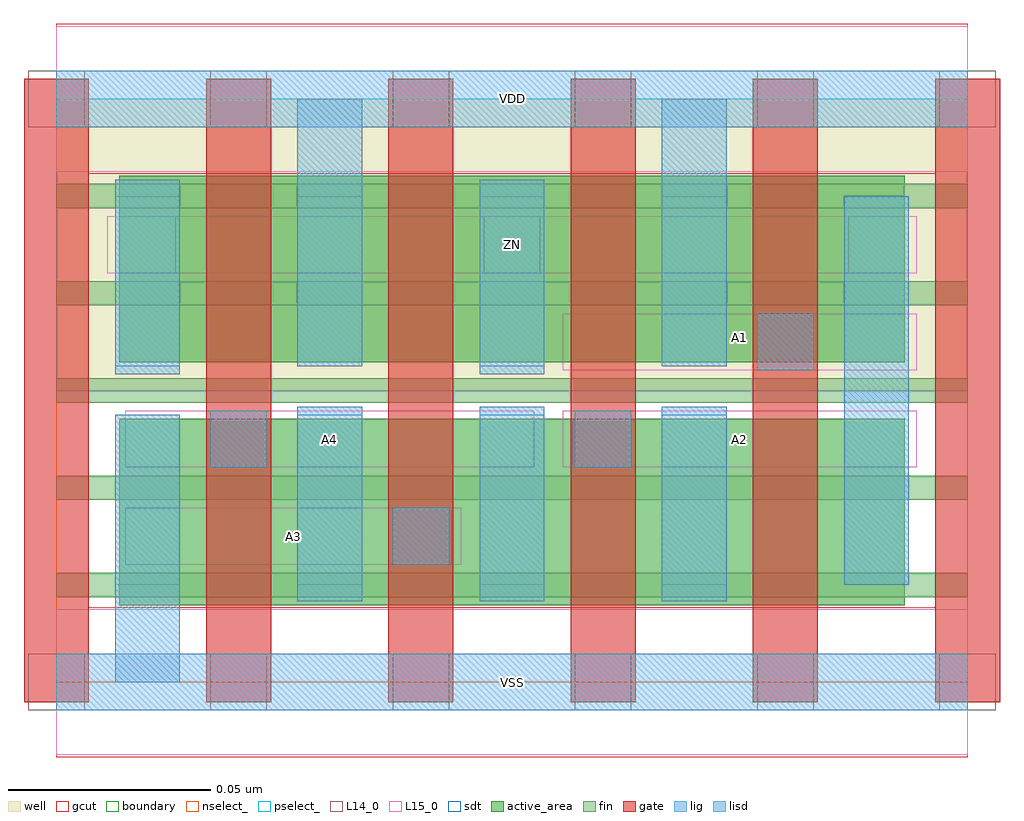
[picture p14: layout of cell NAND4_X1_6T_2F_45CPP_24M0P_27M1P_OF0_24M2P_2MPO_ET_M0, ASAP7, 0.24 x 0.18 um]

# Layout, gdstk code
import gdstk
lib = gdstk.Library(unit=1e-6, precision=2.5e-10)
def R(c, l, rs):  # rectangles x0, y0, x1, y1
    for r in rs: c.add(gdstk.rectangle(r[:2], r[2:], *l))
def A(c, l, x, y, w, h, nx, ny, dx, dy):  # array of equal rectangles
    R(c, l, [(x+i*dx, y+j*dy, x+i*dx+w, y+j*dy+h) for i in range(nx) for j in range(ny)])
well = (1, 0)
fin = (2, 0)
gate = (7, 0)
gcut = (10, 0)
active_area = (11, 0)
nselect_ = (12, 0)
pselect_ = (13, 0)
L14_0 = (14, 0)
L15_0 = (15, 0)
lig = (16, 0)
lisd = (17, 0)
sdt = (88, 0)
boundary = (100, 0)

nand4_x1_6t_2f_45cpp_24m = lib.new_cell('NAND4_X1_6T_2F_45CPP_24M0P_27M1P_OF0_24M2P_2MPO_ET_M0')
R(nand4_x1_6t_2f_45cpp_24m, well, [(0,0.072,0.225,0.144)])
A(nand4_x1_6t_2f_45cpp_24m, fin, 0, 0.021, 0.225, 0.006, 1, 5, 0, 0.024)
A(nand4_x1_6t_2f_45cpp_24m, gate, -0.008, -0.005, 0.016, 0.154, 6, 1, 0.045, 0)
R(nand4_x1_6t_2f_45cpp_24m, gcut, [(0,-0.0185,0.225,0.0185), (-0.008,-0.005,0.008,0.149), (0.217,-0.005,0.233,0.149), (0,0.1255,0.225,0.1625)])
A(nand4_x1_6t_2f_45cpp_24m, active_area, 0.0155, 0.019, 0.059, 0.046, 4, 2, 0.045, 0.06)
R(nand4_x1_6t_2f_45cpp_24m, nselect_, [(0,0,0.225,0.072)])
R(nand4_x1_6t_2f_45cpp_24m, pselect_, [(0,0.072,0.225,0.144)])
A(nand4_x1_6t_2f_45cpp_24m, L14_0, -0.007, -0.007, 0.014, 0.014, 6, 2, 0.045, 0.144)
A(nand4_x1_6t_2f_45cpp_24m, L14_0, 0.0155, 0.101, 0.014, 0.014, 3, 1, 0.09, 0)
R(nand4_x1_6t_2f_45cpp_24m, L14_0, [(0.083,0.029,0.097,0.043), (0.038,0.053,0.052,0.067), (0.128,0.053,0.142,0.067), (0.173,0.077,0.187,0.091)])
R(nand4_x1_6t_2f_45cpp_24m, L15_0, [(0,-0.018,0.225,0.018), (0.017,0.029,0.1,0.043), (0.017,0.053,0.118,0.067), (0.125,0.053,0.2125,0.067), (0.125,0.077,0.2125,0.091), (0.0125,0.101,0.2125,0.115), (0,0.126,0.225,0.162)])
R(nand4_x1_6t_2f_45cpp_24m, lig, [(0,-0.007,0.225,0.007), (0.083,0.029,0.097,0.043), (0.038,0.053,0.052,0.067), (0.128,0.053,0.142,0.067), (0.173,0.077,0.187,0.091), (0,0.137,0.225,0.151)])
A(nand4_x1_6t_2f_45cpp_24m, lisd, 0.0595, 0.02, 0.016, 0.048, 3, 1, 0.045, 0)
R(nand4_x1_6t_2f_45cpp_24m, lisd, [(0.0145,0,0.0305,0.066), (0.1945,0.024,0.2105,0.12), (0.0145,0.076,0.0305,0.124), (0.1045,0.076,0.1205,0.124), (0.0595,0.078,0.0755,0.144), (0.1495,0.078,0.1655,0.144)])
A(nand4_x1_6t_2f_45cpp_24m, sdt, 0.0145, 0.024, 0.016, 0.042, 4, 2, 0.045, 0.054)
R(nand4_x1_6t_2f_45cpp_24m, sdt, [(0.1945,0.024,0.2105,0.12)])
R(nand4_x1_6t_2f_45cpp_24m, boundary, [(0,0,0.225,0.144)])
nand4_x1_6t_2f_45cpp_24m.add(gdstk.Label('A1', (0.1688,0.085), layer=15, texttype=251))
nand4_x1_6t_2f_45cpp_24m.add(gdstk.Label('A3', (0.0585,0.036), layer=15, texttype=251))
nand4_x1_6t_2f_45cpp_24m.add(gdstk.Label('A4', (0.0675,0.06), layer=15, texttype=251))
nand4_x1_6t_2f_45cpp_24m.add(gdstk.Label('A2', (0.1688,0.06), layer=15, texttype=251))
nand4_x1_6t_2f_45cpp_24m.add(gdstk.Label('ZN', (0.1125,0.108), layer=15, texttype=251))
nand4_x1_6t_2f_45cpp_24m.add(gdstk.Label('VDD', (0.1125,0.144), layer=15, texttype=251))
nand4_x1_6t_2f_45cpp_24m.add(gdstk.Label('VSS', (0.1125,0), layer=15, texttype=251))
nand4_x1_6t_2f_45cpp_24m.add(gdstk.Label('VDD', (0.1125,0.144), layer=1, texttype=251))
nand4_x1_6t_2f_45cpp_24m.add(gdstk.Label('VSS', (0.1125,0), layer=3, texttype=251))

lib.write_gds('NAND4_X1_6T_2F_45CPP_24M0P_27M1P_OF0_24M2P_2MPO_ET_M0.gds')
